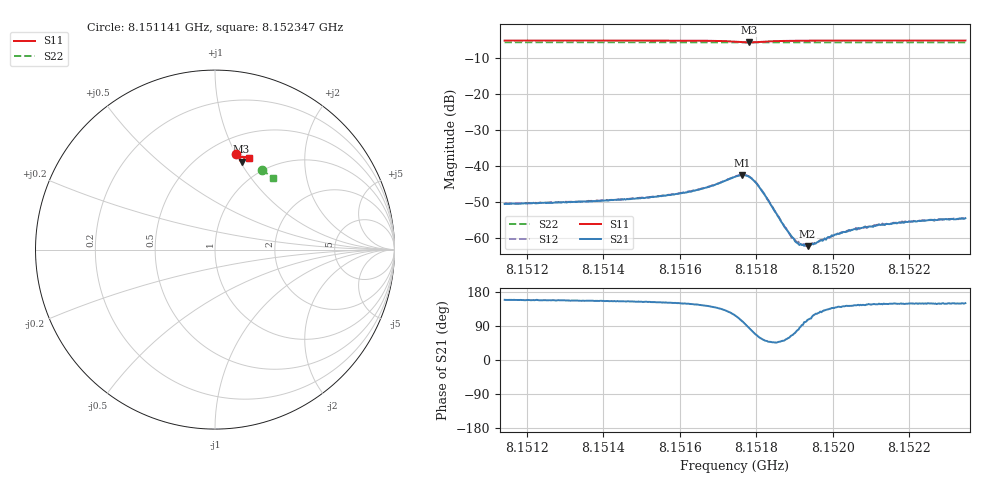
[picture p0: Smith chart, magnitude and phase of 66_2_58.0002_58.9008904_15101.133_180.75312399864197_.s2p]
#  HZ  S  RI  R  50.00
! Rohde & Schwarz Vector Network Analyzer
! Rohde-Schwarz,ZNB20-2Port,1311601062101988,3.16
! Created: UTC 3/21/2024, 12:53:12 AM
! freq[Hz]  re:S11  im:S11  re:S21  im:S21  re:S12  im:S12  re:S22  im:S22
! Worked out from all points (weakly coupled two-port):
!   401 points, 8.151141 GHz to 8.152347 GHz, reference 50 ohm
!   highest |S21| = -42.57 dB at 8.151762 GHz (marker M1); lowest = -62.2 dB at 8.151934 GHz (marker M2)
!   lowest |S11| = -5.8 dB at 8.15178 GHz (marker M3), VSWR 3.10, Z = 38.2 + j50.7 ohm
!   |S11| at or under -10 dB: nowhere
!   |S22| runs from -5.8 to -5.8 dB; largest |S21 - S12| = 0.00016
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8.1511414e9  0.1145 0.531  -0.00275 0.00107  -0.00279 0.0011  0.2606 0.443
8.1513434e9  0.1295 0.5278  -0.00293 0.00129  -0.0029 0.00131  0.2716 0.4362
8.1514639e9  0.139 0.5253  -0.00311 0.00146  -0.0031 0.00156  0.2783 0.4319
8.1515453e9  0.1458 0.5229  -0.00335 0.00175  -0.00333 0.00185  0.2826 0.4289
8.1516447e9  0.1557 0.5182  -0.00383 0.00258  -0.00385 0.00263  0.2877 0.425
8.151693e9  0.1614 0.5125  -0.00413 0.00361  -0.00411 0.00373  0.2905 0.4229
8.1517442e9  0.1634 0.4982  -0.00328 0.00623  -0.00321 0.00634  0.2928 0.4207
8.1517623e9  0.1581 0.4917  -0.0017 0.00724  -0.00159 0.00728  0.2934 0.4198
8.1517803e9  0.1479 0.4899  0.000631 0.00707  0.000715 0.00712  0.2939 0.4191
8.1517954e9  0.1406 0.4945  0.00209 0.00573  0.00218 0.00575  0.2945 0.419
8.1518105e9  0.1376 0.5015  0.00255 0.00409  0.00263 0.0041  0.2953 0.4187
8.1518708e9  0.1465 0.5161  0.000963 0.00118  0.000972 0.00117  0.2988 0.4171
8.1518949e9  0.1506 0.5175  0.000413 0.000923  0.000424 0.000893  0.3001 0.4162
8.1519069e9  0.1524 0.5178  0.000175 0.000837  0.000221 0.000833  0.3008 0.4156
8.151922e9  0.1543 0.5181  -3.91e-05 0.000804  -3.31e-05 0.000807  0.3016 0.4151
8.151934e9  0.156 0.5182  -0.000213 0.000745  -0.000189 0.000746  0.3023 0.4146
8.1519461e9  0.1574 0.5181  -0.000353 0.000747  -0.000344 0.000775  0.3028 0.4142
8.1520034e9  0.1635 0.5177  -0.000797 0.000745  -0.000806 0.000746  0.306 0.4119
8.1520486e9  0.1676 0.5169  -0.00103 0.00077  -0.00103 0.000781  0.3082 0.41
8.152148e9  0.1757 0.5149  -0.00132 0.000813  -0.00133 0.000874  0.3134 0.4061
8.1522535e9  0.1836 0.5126  -0.00153 0.000918  -0.00151 0.00091  0.3186 0.4018
8.1523469e9  0.1902 0.5104  -0.00163 0.000936  -0.0016 0.000979  0.3233 0.3978
